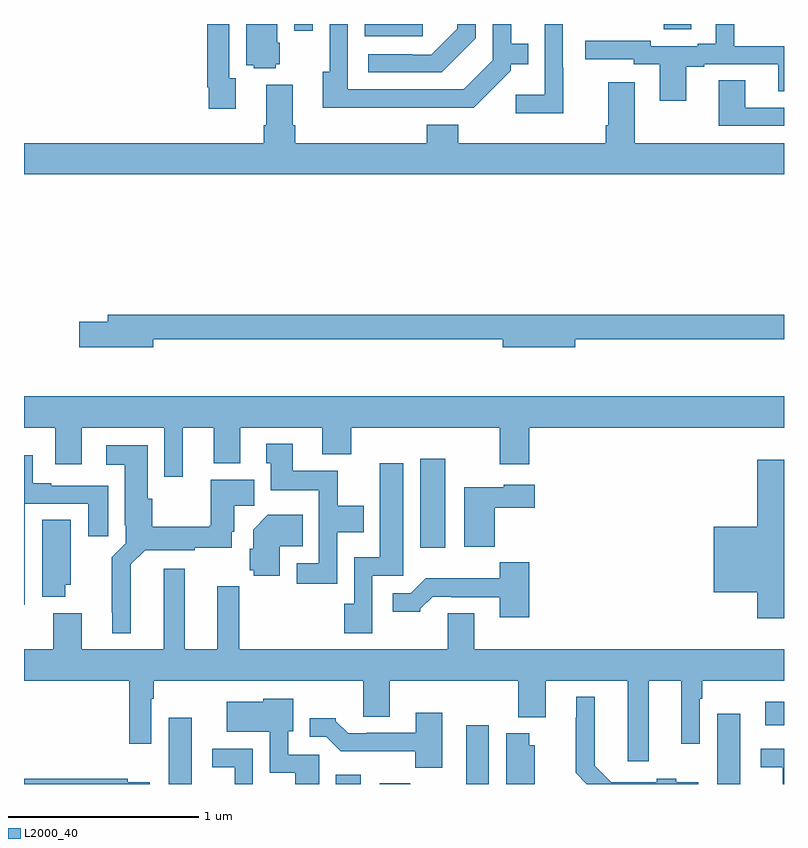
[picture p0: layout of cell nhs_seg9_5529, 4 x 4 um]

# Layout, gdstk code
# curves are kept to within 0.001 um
import gdstk
lib = gdstk.Library(unit=1e-6, precision=1e-09)
def R(c, l, rs):  # rectangles x0, y0, x1, y1
    for r in rs: c.add(gdstk.rectangle(r[:2], r[2:], *l))
def P(c, l, *ps):  # polygons
    for p in ps: c.add(gdstk.Polygon(p, *l))
L2000_40 = (2000, 40)

nhs_seg9_5529 = lib.new_cell('nhs_seg9_5529')
R(nhs_seg9_5529, L2000_40, [(431.762,1238.5,431.884,1238.848), (432.641,1238.5,432.772,1238.548), (432.872,1238.5,433.034,1238.503), (433.328,1238.5,433.447,1238.809), (434.648,1238.5,434.77,1238.869), (434.901,1238.81,435,1238.932), (433.085,1239.744,433.216,1240.213), (432.794,1242.435,433.099,1242.5), (432.423,1242.465,432.519,1242.5), (434.367,1242.473,434.512,1242.5)])
P(nhs_seg9_5529, L2000_40, [(433.037,1242.06),(433.368,1242.06),(433.563,1242.255),(433.563,1242.287),(433.655,1242.287),(433.655,1242.397),(433.564,1242.397),(433.564,1242.5),(433.467,1242.5),(433.467,1242.309),(433.314,1242.156),(432.705,1242.156),(432.705,1242.5),(432.609,1242.5),(432.609,1242.25),(432.572,1242.25),(432.572,1242.059)],
  [(432.324,1242.288),(432.346,1242.288),(432.346,1242.402),(432.334,1242.402),(432.334,1242.5),(432.17,1242.5),(432.17,1242.284),(432.21,1242.284),(432.21,1242.266),(432.324,1242.266)],
  [(432.115,1242.215),(432.081,1242.215),(432.081,1242.5),(431.965,1242.5),(431.965,1242.166),(431.973,1242.166),(431.973,1242.054),(432.115,1242.054)],
  [(434.485,1242.276),(434.581,1242.276),(434.581,1242.288),(434.969,1242.288),(434.969,1242.145),(435,1242.145),(435,1242.384),(434.739,1242.384),(434.739,1242.5),(434.642,1242.5),(434.642,1242.397),(434.546,1242.397),(434.546,1242.384),(434.298,1242.384),(434.298,1242.411),(433.953,1242.411),(433.953,1242.315),(434.208,1242.315),(434.208,1242.288),(434.345,1242.288),(434.345,1242.096),(434.485,1242.096)],
  [(433.839,1242.269),(433.836,1242.269),(433.836,1242.5),(433.74,1242.5),(433.74,1242.127),(433.587,1242.127),(433.587,1242.029),(433.839,1242.029)],
  [(433.377,1242.425),(433.377,1242.5),(433.28,1242.5),(433.28,1242.476),(433.143,1242.339),(433.043,1242.339),(433.043,1242.342),(432.813,1242.342),(432.813,1242.246),(433.198,1242.246)],
  [(435,1242.06),(434.797,1242.06),(434.797,1242.203),(434.657,1242.203),(434.657,1241.964),(435,1241.964)],
  [(435,1241.872),(434.215,1241.872),(434.215,1242.193),(434.075,1242.193),(434.075,1241.968),(434.063,1241.968),(434.063,1241.872),(433.286,1241.872),(433.286,1241.971),(433.121,1241.971),(433.121,1241.872),(432.428,1241.872),(432.428,1241.968),(432.415,1241.968),(432.415,1242.181),(432.275,1242.181),(432.275,1241.968),(432.263,1241.968),(432.263,1241.872),(431,1241.872),(431,1241.708),(435,1241.708)],
  [(431.68,1240.842),(433.52,1240.842),(433.52,1240.799),(433.9,1240.799),(433.9,1240.842),(435,1240.842),(435,1240.97),(431.441,1240.97),(431.441,1240.934),(431.292,1240.934),(431.292,1240.799),(431.68,1240.799)],
  [(431.836,1240.376),(431.999,1240.376),(431.999,1240.187),(432.139,1240.187),(432.139,1240.376),(432.569,1240.376),(432.569,1240.235),(432.722,1240.235),(432.722,1240.376),(433.505,1240.376),(433.505,1240.182),(433.658,1240.182),(433.658,1240.376),(435,1240.376),(435,1240.54),(431,1240.54),(431,1240.376),(431.165,1240.376),(431.165,1240.182),(431.305,1240.182),(431.305,1240.376),(431.739,1240.376),(431.739,1240.116),(431.836,1240.116)],
  [(432.648,1239.824),(432.787,1239.824),(432.787,1239.964),(432.651,1239.964),(432.651,1240.15),(432.415,1240.15),(432.415,1240.291),(432.275,1240.291),(432.275,1240.188),(432.299,1240.188),(432.299,1240.046),(432.552,1240.046),(432.552,1239.663),(432.435,1239.663),(432.435,1239.555),(432.648,1239.555)],
  [(431.563,1239.656),(431.637,1239.731),(431.898,1239.731),(431.898,1239.743),(432.094,1239.743),(432.094,1239.828),(432.106,1239.828),(432.106,1239.964),(432.211,1239.964),(432.211,1240.102),(431.984,1240.102),(431.984,1239.861),(431.977,1239.861),(431.977,1239.853),(431.676,1239.853),(431.676,1240.002),(431.65,1240.002),(431.65,1240.282),(431.433,1240.282),(431.433,1240.181),(431.531,1240.181),(431.531,1239.862),(431.535,1239.862),(431.535,1239.768),(431.461,1239.694),(431.461,1239.403),(431.465,1239.403),(431.465,1239.293),(431.563,1239.293)],
  [(431.005,1239.975),(431.339,1239.975),(431.339,1239.804),(431.443,1239.804),(431.443,1240.071),(431.143,1240.071),(431.143,1240.084),(431.047,1240.084),(431.047,1240.231),(431,1240.231),(431,1239.444),(431.005,1239.444)],
  [(435,1240.207),(434.858,1240.207),(434.858,1239.853),(434.63,1239.853),(434.63,1239.509),(434.858,1239.509),(434.858,1239.372),(435,1239.372)],
  [(432.834,1239.597),(432.997,1239.597),(432.997,1240.189),(432.872,1240.189),(432.872,1239.694),(432.738,1239.694),(432.738,1239.45),(432.686,1239.45),(432.686,1239.294),(432.834,1239.294)],
  [(433.478,1239.953),(433.687,1239.953),(433.687,1240.075),(433.524,1240.075),(433.524,1240.063),(433.316,1240.063),(433.316,1239.749),(433.478,1239.749)],
  [(432.346,1239.752),(432.467,1239.752),(432.467,1239.916),(432.284,1239.916),(432.206,1239.838),(432.206,1239.738),(432.188,1239.738),(432.188,1239.624),(432.21,1239.624),(432.21,1239.595),(432.346,1239.595)],
  [(431.218,1239.549),(431.245,1239.549),(431.245,1239.89),(431.096,1239.89),(431.096,1239.485),(431.218,1239.485)],
  [(433.658,1239.667),(433.503,1239.667),(433.503,1239.583),(433.114,1239.583),(433.035,1239.504),(432.942,1239.504),(432.942,1239.407),(433.086,1239.407),(433.086,1239.422),(433.15,1239.486),(433.249,1239.486),(433.249,1239.483),(433.505,1239.483),(433.505,1239.378),(433.658,1239.378)],
  [(433.369,1239.398),(433.229,1239.398),(433.229,1239.208),(432.134,1239.208),(432.134,1239.541),(432.017,1239.541),(432.017,1239.208),(431.845,1239.208),(431.845,1239.634),(431.735,1239.634),(431.735,1239.208),(431.305,1239.208),(431.305,1239.4),(431.153,1239.4),(431.153,1239.208),(431,1239.208),(431,1239.044),(431.554,1239.044),(431.554,1238.712),(431.67,1238.712),(431.67,1238.948),(431.683,1238.948),(431.683,1239.044),(432.785,1239.044),(432.785,1238.854),(432.925,1238.854),(432.925,1239.044),(433.6,1239.044),(433.6,1238.852),(433.747,1238.852),(433.747,1239.044),(434.177,1239.044),(434.177,1238.619),(434.287,1238.619),(434.287,1239.044),(434.459,1239.044),(434.459,1238.712),(434.556,1238.712),(434.556,1238.948),(434.569,1238.948),(434.569,1239.044),(435,1239.044),(435,1239.208),(433.369,1239.208)],
  [(434.548,1238.51),(434.432,1238.51),(434.432,1238.528),(434.33,1238.528),(434.33,1238.508),(434.092,1238.508),(434.005,1238.596),(434.005,1238.959),(433.907,1238.959),(433.907,1238.849),(433.903,1238.849),(433.903,1238.558),(433.961,1238.5),(434.548,1238.5)],
  [(432.553,1238.655),(432.39,1238.655),(432.39,1238.778),(432.418,1238.778),(432.418,1238.95),(432.258,1238.95),(432.258,1238.932),(432.066,1238.932),(432.066,1238.774),(432.294,1238.774),(432.294,1238.558),(432.428,1238.558),(432.428,1238.5),(432.553,1238.5)],
  [(433.201,1238.875),(433.061,1238.875),(433.061,1238.769),(432.805,1238.769),(432.805,1238.766),(432.706,1238.766),(432.642,1238.83),(432.642,1238.845),(432.503,1238.845),(432.503,1238.748),(432.591,1238.748),(432.667,1238.672),(433.059,1238.672),(433.059,1238.585),(433.201,1238.585)],
  [(433.687,1238.703),(433.66,1238.703),(433.66,1238.767),(433.538,1238.767),(433.538,1238.5),(433.687,1238.5)],
  [(435,1238.685),(434.877,1238.685),(434.877,1238.589),(434.994,1238.589),(434.994,1238.5),(435,1238.5)],
  [(432.204,1238.685),(431.991,1238.685),(431.991,1238.589),(432.108,1238.589),(432.108,1238.5),(432.204,1238.5)],
  [(431.662,1238.51),(431.546,1238.51),(431.546,1238.528),(431,1238.528),(431,1238.5),(431.662,1238.5)])

lib.write_gds('nhs_seg9_5529.gds')
